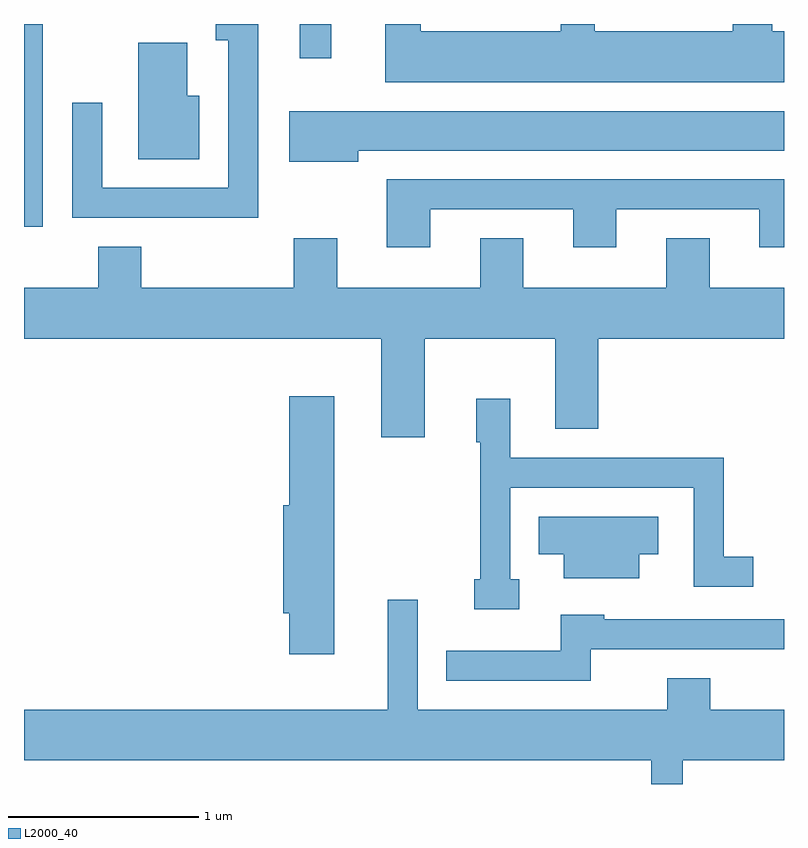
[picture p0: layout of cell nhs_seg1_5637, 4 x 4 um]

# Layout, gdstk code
import gdstk
lib = gdstk.Library(unit=1e-6, precision=1e-09)
def R(c, l, rs):  # rectangles x0, y0, x1, y1
    for r in rs: c.add(gdstk.rectangle(r[:2], r[2:], *l))
def P(c, l, *ps):  # polygons
    for p in ps: c.add(gdstk.Polygon(p, *l))
L2000_40 = (2000, 40)

nhs_seg1_5637 = lib.new_cell('nhs_seg1_5637')
R(nhs_seg1_5637, L2000_40, [(355.611,864.646,355.709,865.712), (357.061,865.533,357.229,865.712)])
P(nhs_seg1_5637, L2000_40, [(356.844,865.712),(356.621,865.712),(356.621,865.626),(356.686,865.626),(356.686,864.849),(356.024,864.849),(356.024,865.298),(355.866,865.298),(355.866,864.691),(356.844,864.691)],
  [(359.611,865.674),(359.549,865.674),(359.549,865.712),(359.341,865.712),(359.341,865.674),(358.614,865.674),(358.614,865.712),(358.436,865.712),(358.436,865.674),(357.699,865.674),(357.699,865.712),(357.511,865.712),(357.511,865.406),(359.611,865.406)],
  [(356.534,865.334),(356.469,865.334),(356.469,865.614),(356.211,865.614),(356.211,865.001),(356.534,865.001)],
  [(357.369,865.046),(359.611,865.046),(359.611,865.254),(357.006,865.254),(357.006,864.986),(357.369,864.986)],
  [(357.749,864.736),(358.501,864.736),(358.501,864.536),(358.729,864.536),(358.729,864.736),(359.481,864.736),(359.481,864.536),(359.611,864.536),(359.611,864.894),(357.521,864.894),(357.521,864.536),(357.749,864.536)],
  [(357.719,864.056),(358.406,864.056),(358.406,863.581),(358.634,863.581),(358.634,864.056),(359.611,864.056),(359.611,864.324),(359.219,864.324),(359.219,864.584),(358.991,864.584),(358.991,864.324),(358.239,864.324),(358.239,864.584),(358.011,864.584),(358.011,864.324),(357.259,864.324),(357.259,864.584),(357.031,864.584),(357.031,864.324),(356.229,864.324),(356.229,864.539),(356.001,864.539),(356.001,864.324),(355.611,864.324),(355.611,864.056),(357.491,864.056),(357.491,863.536),(357.719,863.536)],
  [(357.244,863.754),(357.006,863.754),(357.006,863.179),(356.976,863.179),(356.976,862.611),(357.006,862.611),(357.006,862.396),(357.244,862.396)],
  [(358.218,862.789),(358.169,862.789),(358.169,863.271),(359.136,863.271),(359.136,862.751),(359.448,862.751),(359.448,862.909),(359.294,862.909),(359.294,863.429),(358.169,863.429),(358.169,863.739),(357.991,863.739),(357.991,863.511),(358.011,863.511),(358.011,862.789),(357.981,862.789),(357.981,862.631),(358.218,862.631)],
  [(358.849,862.921),(358.949,862.921),(358.949,863.119),(358.321,863.119),(358.321,862.921),(358.451,862.921),(358.451,862.796),(358.849,862.796)],
  [(359.079,861.836),(359.611,861.836),(359.611,862.104),(359.224,862.104),(359.224,862.269),(358.996,862.269),(358.996,862.104),(357.684,862.104),(357.684,862.683),(357.526,862.683),(357.526,862.104),(355.611,862.104),(355.611,861.836),(358.911,861.836),(358.911,861.712),(359.079,861.712)],
  [(358.594,862.421),(359.611,862.421),(359.611,862.579),(358.664,862.579),(358.664,862.604),(358.436,862.604),(358.436,862.414),(357.833,862.414),(357.833,862.256),(358.594,862.256)])

lib.write_gds('nhs_seg1_5637.gds')
